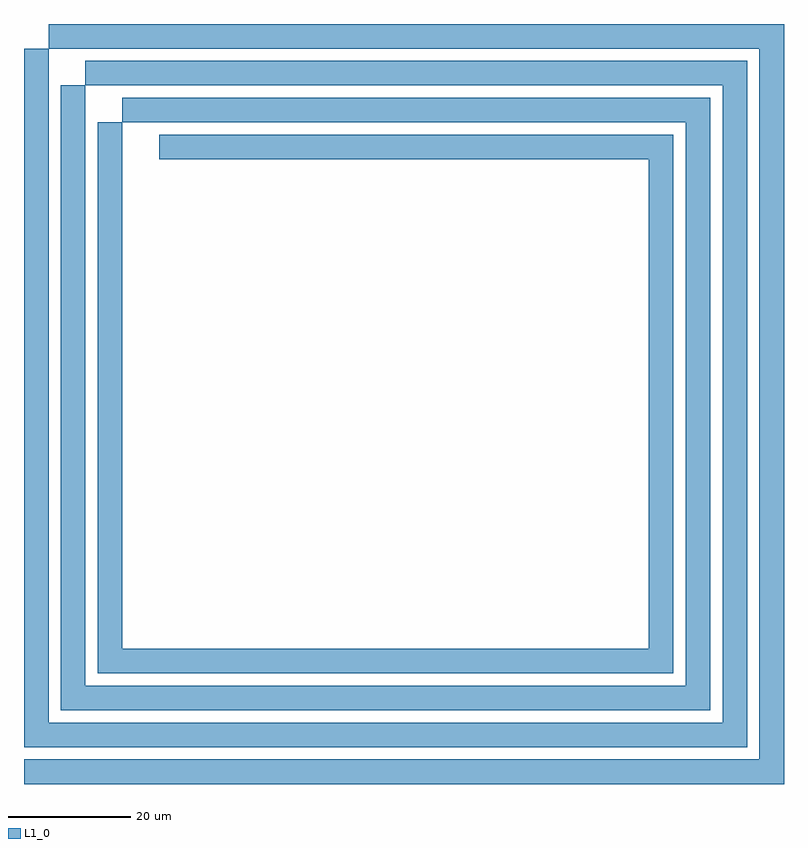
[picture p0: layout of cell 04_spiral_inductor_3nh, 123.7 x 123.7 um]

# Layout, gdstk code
import gdstk
lib = gdstk.Library(unit=1e-6, precision=1e-09)
def R(c, l, rs):  # rectangles x0, y0, x1, y1
    for r in rs: c.add(gdstk.rectangle(r[:2], r[2:], *l))
L1_0 = (1, 0)

c_04_spiral_inductor_3nh = lib.new_cell('04_spiral_inductor_3nh')
R(c_04_spiral_inductor_3nh, L1_0, [(0,0,123.697,4), (119.697,0,123.697,123.697), (0,6,10,10), (6,6,117.697,10), (113.697,6,117.697,117.697), (0,10,4,119.697), (6,12,16,16), (12,12,111.697,16), (107.697,12,111.697,111.697), (6,16,10,113.697), (12,18,22,22), (18,18,105.697,22), (101.697,18,105.697,105.697), (12,22,16,107.697), (22,101.697,101.697,105.697), (16,107.697,107.697,111.697), (10,113.697,113.697,117.697), (4,119.697,119.697,123.697)])

lib.write_gds('04_spiral_inductor_3nh.gds')
